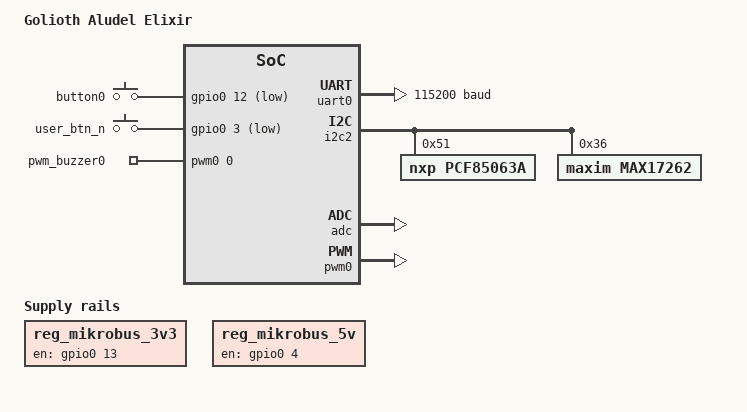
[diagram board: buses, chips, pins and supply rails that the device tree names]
/*
 * Copyright (c) 2018-2020 Nordic Semiconductor ASA
 * Copyright (c) 2023 Golioth, Inc.
 *
 * SPDX-License-Identifier: Apache-2.0
 */

#include "aludel_elixir_common-pinctrl.dtsi"

/ {
	model = "Golioth Aludel Elixir";
	compatible = "golioth,aludel-elixir";

	chosen {
		zephyr,console = &uart0;
		zephyr,shell-uart = &uart0;
		zephyr,uart-mcumgr = &uart0;
		nordic,modem-trace-uart = &uart1;
	};

	buttons {
		compatible = "gpio-keys";

		button0: button_0 {
			gpios = <&gpio0 12 (GPIO_PULL_UP | GPIO_ACTIVE_LOW)>;
		};

		user_btn_n: user_btn_n {
			gpios = <&gpio0 3 (GPIO_PULL_UP | GPIO_ACTIVE_LOW)>;
		};
	};

	pwm-buzzers {
		compatible = "pwm-leds";

		pwm_buzzer0: pwm-buzzer-0 {
			pwms = <&pwm0 0 PWM_HZ(440) PWM_POLARITY_NORMAL>;
		};
	};

	reg_mikrobus_3v3: reg-mikrobus-3v3 {
		compatible = "regulator-fixed";
		regulator-name = "reg-mikrobus-3v3";
		enable-gpios = <&gpio0 13 GPIO_ACTIVE_HIGH>;
		regulator-boot-on;
	};

	reg_mikrobus_5v: reg-mikrobus-5v {
		compatible = "regulator-fixed";
		regulator-name = "reg-mikrobus-5v";
		enable-gpios = <&gpio0 4 GPIO_ACTIVE_HIGH>;
		regulator-boot-on;
	};

	aliases {
		sw0 = &button0;
		sw1 = &user_btn_n;
		mcuboot-button0 = &button0;
		watchdog0 = &wdt0;
		click-i2c = &i2c2;
		spi-flash0 = &w25q32jv;
		pwm-buzzer0 = &pwm_buzzer0;
	};
};

esp_at_serial: &uart0 {};
qwiic_i2c: &i2c2 {};

&adc {
	status = "okay";
};

&gpiote {
	status = "okay";
};

&gpio0 {
	status = "okay";
};

&uart0 {
	status = "okay";
	current-speed = <115200>;
	pinctrl-0 = <&usb_serial_uart_default>;
	pinctrl-1 = <&usb_serial_uart_sleep>;
	pinctrl-names = "default", "sleep";
};

&i2c2 {
	pinctrl-0 = <&mikrobus_i2c_default>;
	pinctrl-1 = <&mikrobus_i2c_sleep>;
	pinctrl-names = "default", "sleep";

	pcf85063a@51 {
		compatible = "nxp,pcf85063a";
		reg = <0x51>;
	};

	max17262@36 {
		compatible = "maxim,max17262";
		reg = <0x36>;
		design-voltage = <4200>;
		desired-voltage = <3700>;
		desired-charging-current = <800>;
		design-cap = <850>;
		empty-voltage = <3300>;
		recovery-voltage = <3880>;
		charge-voltage = <4200>;
		status = "okay";
	};
};

&spi3 {
	w25q32jv: w25q32jv@0 {
		compatible = "jedec,spi-nor";
		status = "disabled";
		reg = <0>;
		spi-max-frequency = <40000000>;
		wp-gpios = <&gpio0 8 GPIO_ACTIVE_LOW>;
		hold-gpios = <&gpio0 10 GPIO_ACTIVE_LOW>;
		size = <0x2000000>;
		has-dpd;
		t-enter-dpd = <3000>;
		t-exit-dpd = <30000>;
		jedec-id = [ ef 40 16  ];
	};
};

&pwm0 {
	status = "okay";
	pinctrl-0 = <&buzzer_pwm0_default>;
	pinctrl-1 = <&buzzer_pwm0_sleep>;
	pinctrl-names = "default", "sleep";
};

&flash0 {
	partitions {
		compatible = "fixed-partitions";
		#address-cells = <1>;
		#size-cells = <1>;

		boot_partition: partition@0 {
			label = "mcuboot";
			reg = <0x00000000 0x10000>;
		};

		slot0_partition: partition@10000 {
			label = "image-0";
		};

		slot0_ns_partition: partition@50000 {
			label = "image-0-nonsecure";
		};

		slot1_partition: partition@80000 {
			label = "image-1";
		};

		slot1_ns_partition: partition@c0000 {
			label = "image-1-nonsecure";
		};

		/* 0xf0000 to 0xf7fff reserved for TF-M partitions */
		storage_partition: partition@f8000 {
			label = "storage";
			reg = <0x000f8000 0x00008000>;
		};
	};
};

/ {
	reserved-memory {
		#address-cells = <1>;
		#size-cells = <1>;
		ranges;

		sram0_s: image_s@20000000 {
			/* Secure image memory */
		};

		sram0_modem: image_modem@20016000 {
			/* Modem (shared) memory */
		};

		sram0_ns: image_ns@20020000 {
			/* Non-Secure image memory */
		};
	};
};

/* Include partition configuration file */
#include "aludel_elixir_partition_conf.dtsi"
